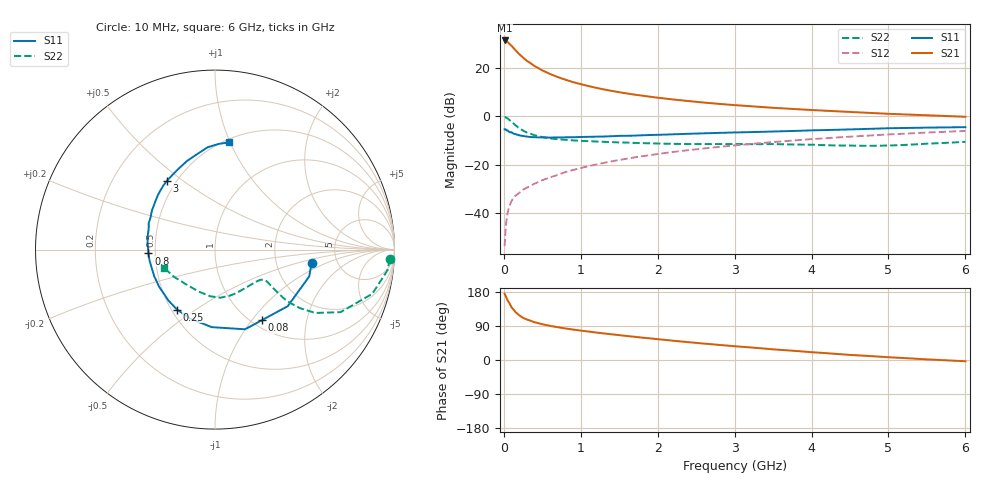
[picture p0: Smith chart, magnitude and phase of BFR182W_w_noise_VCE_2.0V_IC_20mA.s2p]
! Infineon Technologies  Discrete & RF Semiconductors
! BFR182W
! VCE =  2.0 V,  IC =  20 mA
! Common Emitter S-Parameters:  Jan 2017
# GHz  S  MA  R  50
!  f  S11  S21  S12  S22
! GHz  MAG  ANG  MAG  ANG  MAG  ANG  MAG  ANG
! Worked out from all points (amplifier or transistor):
!   77 points, 10 MHz to 6 GHz, reference 50 ohm
!   highest |S21| = 31.4 dB at 10 MHz (marker M1)
!   |S21| within 3 dB of that: start of sweep to 122.5 MHz
!   unconditionally stable (mu >= 1): 647.6 MHz to 2.39 GHz
!   at 130 MHz: K = 0.44, MSG = 30.8 dB, |S12| = -33.6 dB
!   at 2.2 GHz: K = 1.01, MAG = 10.1 dB, |S12| = -14.7 dB
!   at 6 GHz: K = 0.88, MSG = 2.9 dB, |S12| = -6.0 dB
!   lowest NFmin = 1.41 dB at 450 MHz
!   S11 on the Smith chart (normalised r, x): 10 MHz: 3.21, -0.70; 80 MHz: 1.11, -1.13; 250 MHz: 0.53, -0.42; 800 MHz: 0.46, -0.02; 3 GHz: 0.45, +0.44; 6 GHz: 0.53, +0.99
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0.01  0.5432 -8.1  37.15 175.1  0.0021 92.2  0.9743 -3.1
0.02  0.5458 -15.9  37.09 170.5  0.004 80.8  0.9687 -6.7
0.05  0.5134 -37.9  34.56 157.0  0.0105 75.4  0.9103 -15.7
0.08  0.4723 -56.2  30.75 147.0  0.015 69.7  0.8293 -21.8
0.1  0.4746 -69.3  28.84 139.1  0.018 67.5  0.7813 -26.5
0.15  0.4325 -92.3  23.51 126.7  0.023 63.7  0.6605 -32.3
0.2  0.4088 -109.4  19.43 117.9  0.0265 62.0  0.5737 -34.6
0.25  0.3956 -122.3  16.41 111.3  0.0307 61.4  0.5111 -35.4
0.3  0.3847 -132.2  14.07 106.7  0.0339 62.1  0.465 -35.3
0.4  0.3738 -146.5  10.99 99.5  0.041 64.1  0.4092 -34.1
0.5  0.3696 -156.7  8.945 94.4  0.0482 65.9  0.3753 -33.0
0.6  0.3671 -164.8  7.555 90.1  0.0555 67.2  0.3541 -32.1
0.7  0.3697 -170.9  6.521 86.6  0.0622 68.8  0.3395 -31.6
0.8  0.3715 -176.7  5.75 83.3  0.071 69.2  0.3299 -31.5
1.1  0.3802 170.6  4.247 75.1  0.0943 70.0  0.3096 -32.9
1.5  0.3982 158.1  3.17 65.6  0.1265 69.2  0.2916 -37.6
2.1  0.4229 142.9  2.343 53.0  0.1765 66.3  0.2744 -49.5
3  0.4682 124.7  1.718 36.3  0.2528 59.7  0.2694 -71.9
3.1  0.4716 122.9  1.674 34.8  0.2614 58.7  0.2686 -74.2
4.1  0.521 106.3  1.336 19.3  0.3489 49.7  0.2577 -98.9
5.1  0.5749 92.8  1.12 6.2  0.4332 39.5  0.2544 -133.3
6  0.6027 82.4  0.987 -3.3  0.503 29.9  0.3003 -160.1
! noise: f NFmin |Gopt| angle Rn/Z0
0.45  1.41  0.11  -176  0.15
0.9  1.49  0.11  -171  0.15
1.9  2  0.28  -142  0.16
2.4  2.26  0.29  -128  0.26
